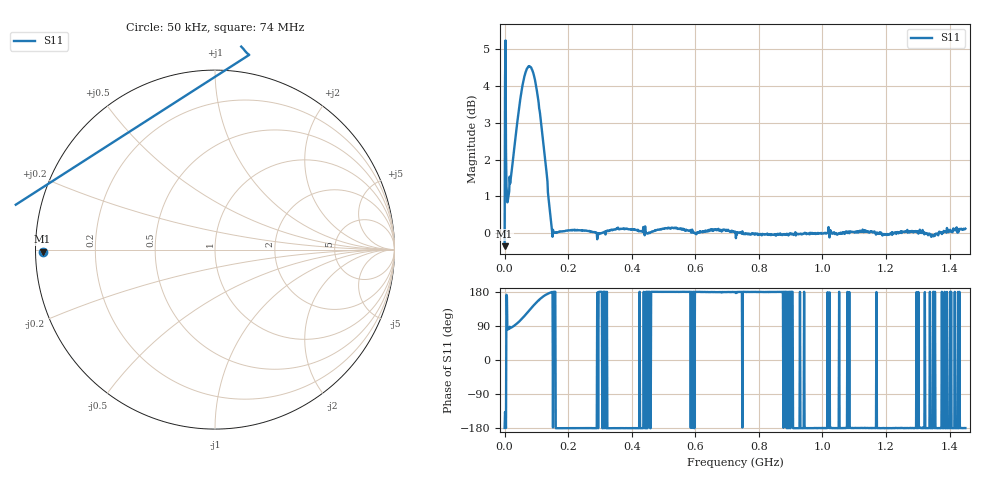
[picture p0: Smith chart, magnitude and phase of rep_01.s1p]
! Created with skrf 1.11.0 (http://scikit-rf.org).
# Hz S RI R 50.0
!freq ReS11 ImS11
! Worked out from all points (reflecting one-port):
!   1001 points, 50 kHz to 1.45 GHz, reference 50 ohm
!   lowest |S11| = -0.3 dB at 50 kHz (marker M1), VSWR 49.84, Z = 1 - j0.309 ohm
!   phase of S11 starts at -179 deg and turns -0 deg over the sweep
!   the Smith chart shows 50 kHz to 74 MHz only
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50000  -0.9606 -0.0119
8749700  0.1908 1.085
1.019965e7  0.1792 1.094
1.16496e7  0.1682 1.106
1.599945e7  0.0479 1.193
2.469915e7  0.056 1.24
3.48488e7  -0.0835 1.354
4.64484e7  -0.308 1.455
5.51481e7  -0.5246 1.487
6.38478e7  -0.7579 1.457
7.399745e7  -1.02 1.338
8.7047e7  -1.276 1.07
9.86466e7  -1.384 0.7772
1.073463e8  -1.391 0.5638
1.17496e8  -1.336 0.3516
1.261956e8  -1.258 0.2148
1.348954e8  -1.171 0.1123
1.43595e8  -1.06 0.0427
1.522948e8  -1.011 -0.0329
1.812938e8  -1.006 -0.00495
3.625375e8  -1.013 -0.000237
5.437812e8  -1.015 0.00185
7.25025e8  -1.002 0.00953
9.062688e8  -0.9969 0.000376
1.087512e9  -1.005 -0.0291
1.268756e9  -1.002 -0.00548
1.347054e9  -0.9936 -0.000646
1.45e9  -1.015 -0.00576
